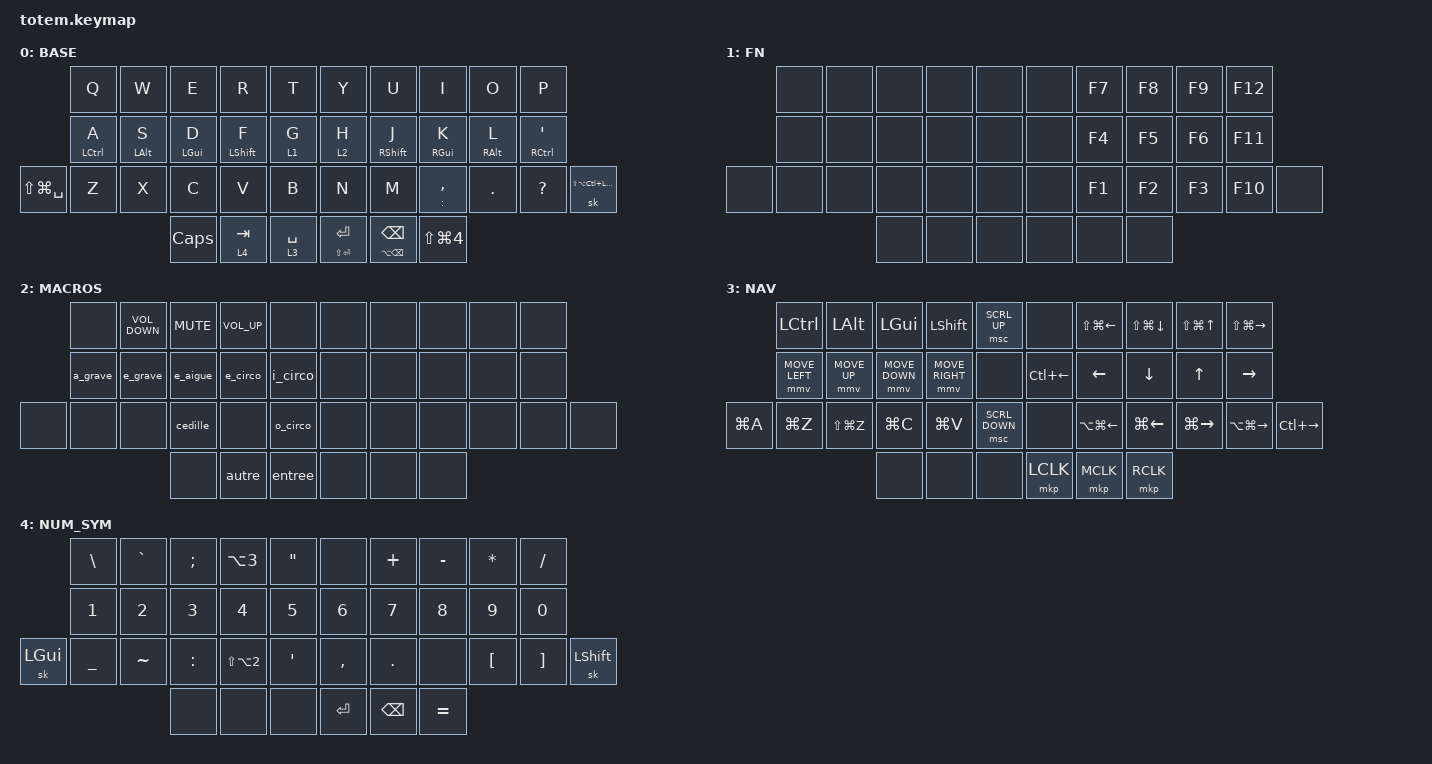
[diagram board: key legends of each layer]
//
//                                                        ▀▀▀▀▀     ▀▀▀▀▀          ▀▀█▀▀
//                                                        ▄▀▀▀▄  ▄  ▄▀▀▀▄  ▄  ▄▀▀▀▄  █  ▄▀▀▀▄
//                                                        █   █  █  █   █  █  █   █  █  █   █
//                                                         ▀▀▀   █   ▀▀▀   █   ▀▀▀   ▀   ▀▀▀
//                                                               █      ▄▄▄█▄▄▄    █   █  
//                                                               ▀      █  █  █     █▄█
//                                                             ▀▀▀▀▀    █  █  █      ▀
//                                                                      ▀  ▀  ▀
//
// ▄▄▄▄▄▄▄▄▄▄▄▄▄▄▄▄▄▄▄▄▄▄▄▄▄▄▄▄▄▄▄▄▄▄▄▄▄▄▄▄▄▄▄▄▄▄▄▄▄▄▄▄▄▄▄▄▄▄▄▄▄▄▄▄▄▄▄▄▄▄▄▄▄▄▄▄▄▄▄▄▄▄▄▄▄▄▄▄▄▄▄▄▄▄▄▄▄▄▄▄▄▄▄▄▄▄▄▄▄▄▄▄▄▄▄▄▄▄▄▄▄▄▄▄▄▄▄▄▄▄▄▄▄▄▄▄▄▄▄▄▄▄▄▄▄▄▄▄▄
       

#include <behaviors.dtsi>
#include <dt-bindings/zmk/keys.h>
#include <dt-bindings/zmk/pointing.h>
#include <dt-bindings/zmk/bt.h>

/ {
    combos {
        compatible = "zmk,combos";

        escape {
            bindings = <&kp ESC>;
            key-positions = <20 31>;
            timeout-ms = <100>;
            layers = <0 4>;
        };
    };

    macros {
        entree: entree {
            compatible = "zmk,behavior-macro";
            #binding-cells = <0>;
            bindings = <&kp N3 &kp N6 &kp N5 &kp N2 &kp LS(P) &kp A &kp R &kp D &kp A &kp I &kp L &kp L &kp A &kp N &kp PLUS>;
            label = "ENTREE";
        };

        autre: autre {
            compatible = "zmk,behavior-macro";
            #binding-cells = <0>;
            bindings = <&kp N0 &kp N0 &kp LS(M) &kp LS(M) &kp N3 &kp N1 &kp N5 &kp N6 &kp X &kp X &kp N0 &kp N0>;
            label = "AUTRE";
        };

        e_aigue: e_aigue {
            compatible = "zmk,behavior-macro";
            #binding-cells = <0>;
            bindings = <&kp LALT &kp E &kp E>;
            label = "E_AIGUE";
        };

        e_grave: e_grave {
            compatible = "zmk,behavior-macro";
            #binding-cells = <0>;
            bindings = <&kp LEFT_ALT &kp GRAVE &kp E>;
            label = "E_GRAVE";
        };

        a_grave: a_grave {
            compatible = "zmk,behavior-macro";
            #binding-cells = <0>;
            bindings = <&kp LEFT_ALT &kp GRAVE &kp A>;
            label = "A_GRAVE";
        };

        e_circo: e_circo {
            compatible = "zmk,behavior-macro";
            #binding-cells = <0>;
            bindings = <&kp LEFT_ALT &kp I &kp E>;
            label = "E_CIRCO";
        };

        i_circo: i_circo {
            compatible = "zmk,behavior-macro";
            #binding-cells = <0>;
            bindings = <&kp LEFT_ALT &kp I &kp I>;
            label = "I_CIRCO";
        };

        o_circo: o_circo {
            compatible = "zmk,behavior-macro";
            #binding-cells = <0>;
            bindings = <&kp LEFT_ALT &kp I &kp O>;
            label = "O_CIRCO";
        };

        cedille: cedille {
            compatible = "zmk,behavior-macro";
            #binding-cells = <0>;
            bindings = <&kp LEFT_ALT &kp C>;
            label = "CEDILLE";
        };
    };

    keymap {
        compatible = "zmk,keymap";

        BASE {
            bindings = <
                   &kp Q               &kp W           &kp E           &kp R             &kp T          &kp Y                &kp U                        &kp I                 &kp O            &kp P
                   &mt LEFT_CONTROL A  &mt LEFT_ALT S  &mt LEFT_GUI D  &mt LEFT_SHIFT F  &lt 1 G        &lt 2 H              &mt RIGHT_SHIFT J            &mt RIGHT_GUI K       &mt RIGHT_ALT L  &mt RIGHT_CONTROL SQT
&kp LS(LG(SPACE))  &kp Z               &kp X           &kp C           &kp V             &kp B          &kp N                &kp M                        &mt COLON COMMA       &kp PERIOD       &kp QUESTION           &sk LS(LA(LC(LEFT_GUI)))
                                                       &kp CAPSLOCK    &lt 4 TAB         &lt 3 SPACE    &mt LS(ENTER) ENTER  &mt LA(BACKSPACE) BACKSPACE  &kp LS(LG(NUMBER_4))
            >;
        };

        FN {
            bindings = <
       &none  &none  &none  &none  &none    &none  &kp F7  &kp F8  &kp F9  &kp F12
       &none  &none  &none  &none  &none    &none  &kp F4  &kp F5  &kp F6  &kp F11
&none  &none  &none  &none  &none  &none    &none  &kp F1  &kp F2  &kp F3  &kp F10  &none
                     &none  &none  &none    &none  &none   &none
            >;
        };

        MACROS {
            bindings = <
       &none     &kp C_VOLUME_DOWN  &kp K_MUTE  &kp C_VOL_UP  &none       &none  &none  &none  &none  &none
       &a_grave  &e_grave           &e_aigue    &e_circo      &i_circo    &none  &none  &none  &none  &none
&none  &none     &none              &cedille    &none         &o_circo    &none  &none  &none  &none  &none  &none
                                    &none       &autre        &entree     &none  &none  &none
            >;
        };

        NAV {
            bindings = <
           &kp LEFT_CONTROL  &kp LEFT_ALT   &kp LEFT_GUI    &kp LEFT_SHIFT   &msc SCRL_UP      &none         &kp LS(LG(LEFT))  &kp LS(LG(DOWN))  &kp LS(LG(UP_ARROW))  &kp LS(LG(RIGHT))
           &mmv MOVE_LEFT    &mmv MOVE_UP   &mmv MOVE_DOWN  &mmv MOVE_RIGHT  &none             &kp LC(LEFT)  &kp LEFT          &kp DOWN          &kp UP                &kp RIGHT
&kp LG(A)  &kp LG(Z)         &kp LS(LG(Z))  &kp LG(C)       &kp LG(V)        &msc SCRL_DOWN    &none         &kp LA(LG(LEFT))  &kp LG(LEFT)      &kp LG(RIGHT)         &kp LA(LG(RIGHT))  &kp LC(RIGHT)
                                            &none           &none            &none             &mkp LCLK     &mkp MCLK         &mkp RCLK
            >;
        };

        NUM_SYM {
            bindings = <
              &kp BACKSLASH  &kp GRAVE     &kp SEMI      &kp LA(NUMBER_3)      &kp DOUBLE_QUOTES    &none         &kp PLUS       &kp MINUS     &kp ASTRK         &kp SLASH
              &kp NUMBER_1   &kp NUMBER_2  &kp NUMBER_3  &kp NUMBER_4          &kp NUMBER_5         &kp NUMBER_6  &kp NUMBER_7   &kp NUMBER_8  &kp NUMBER_9      &kp NUMBER_0
&sk LEFT_GUI  &kp UNDER      &kp TILDE     &kp COLON     &kp LS(LA(NUMBER_2))  &kp SINGLE_QUOTE     &kp COMMA     &kp DOT        &none         &kp LEFT_BRACKET  &kp RIGHT_BRACKET  &sk LEFT_SHIFT
                                           &none         &none                 &none                &kp ENTER     &kp BACKSPACE  &kp EQUAL
            >;
        };
    };
};
